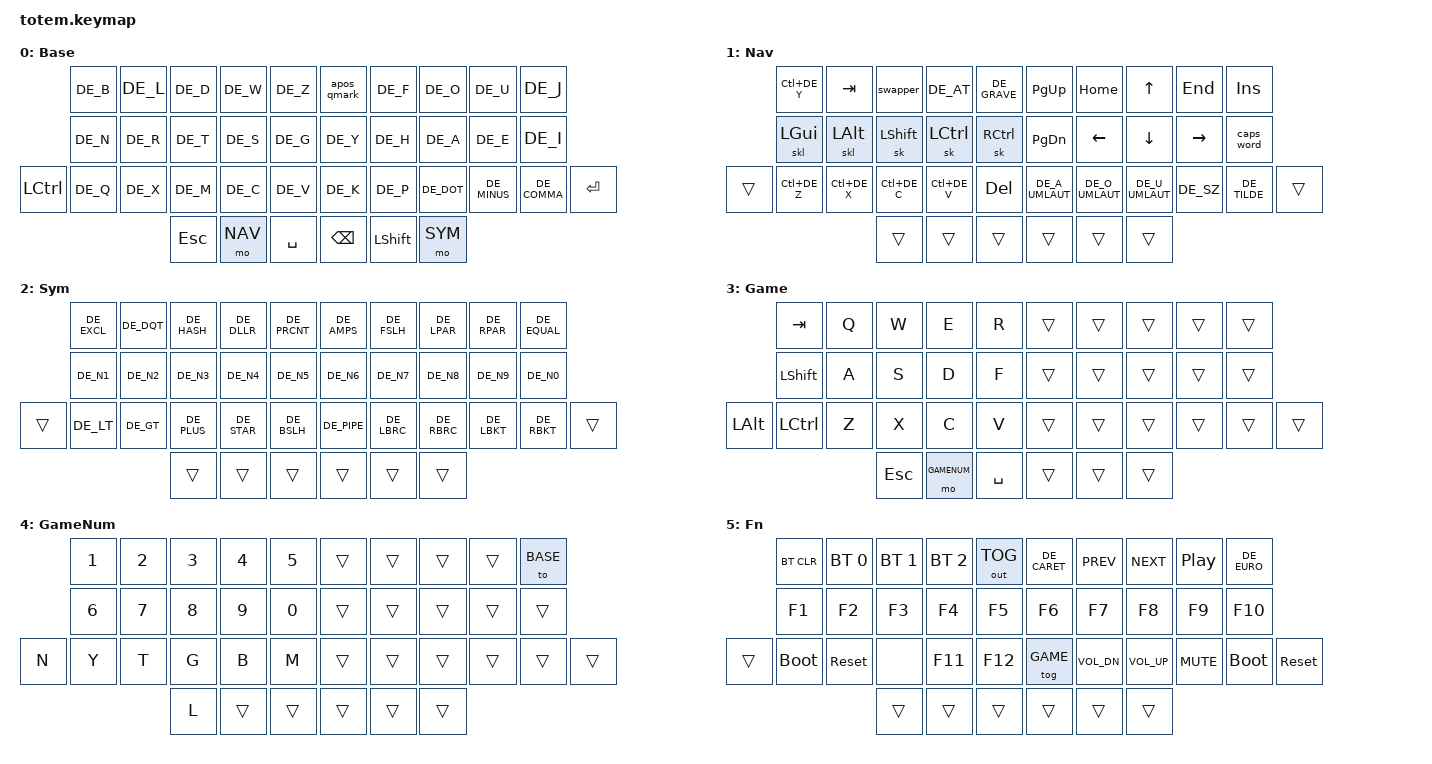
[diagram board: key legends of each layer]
/*
 * TOTEM keymap — Graphite on German (QWERTZ) Windows, keyless dongle as central.
 *
 * Source of truth for the layout: "TOTEM layout planner" artifact.
 * ZMK v0.3. Runs on the dongle (central); the halves only send key positions.
 *
 * Rules this keymap follows:
 *   - Everything that must produce a specific character uses DE_* from keys_de.h
 *     (OS layout = German without dead keys, so ^ ` ´ type immediately).
 *   - Game / GameNum use plain US positional codes (&kp Q ...), because games
 *     read physical positions.
 *   - No hold-taps, tap-dances or combos. Sticky mods only on the Nav home row.
 *
 * Key positions (for ignored-key-positions etc.):
 *
 *           0   1   2   3   4       5   6   7   8   9
 *          10  11  12  13  14      15  16  17  18  19
 *      20  21  22  23  24  25      26  27  28  29  30  31
 *                  32  33  34      35  36  37
 *
 * Layer order matters:
 *   - Fn is the highest layer, so it wins over GameNum's left half when it is
 *     reached through GameNum + Sym (otherwise F1-F5, F11, F12 would be hidden).
 *   - GameNum > Game > Base, and Fn > Nav, Sym (required for conditional_layers).
 */

#include <behaviors.dtsi>
#include <dt-bindings/zmk/keys.h>
#include <dt-bindings/zmk/bt.h>
#include <dt-bindings/zmk/outputs.h>
#ifndef KEYMAP_DRAWER   // keymap-drawer defines this; it should see the DE_* names
#include "keys_de.h"    // German locale header (zmk-locale-generator v1.5.0)
#endif

#define BASE    0
#define NAV     1
#define SYM     2
#define GAME    3
#define GAMENUM 4
#define FN      5

// Sticky mods on the Nav home row: tap = one-shot, hold = normal mod, stackable.
// quick-release: let go as soon as the next key is pressed (no "double mods" on rolls).
&sk {
    release-after-ms = <1750>;
    quick-release;
    /* ignore-modifiers is already set by default -> stacking works */
};

// Caps Word on German Windows: '_' is Shift + DE_MINUS, not US UNDERSCORE.
// Digits continue Caps Word by default. Umlauts / ß end it (not capitalized).
&caps_word {
    continue-list = <DE_UNDER BSPC DEL>;
};

/ {
    behaviors {
        // Lazy sticky key for GUI and Alt: the mod is only sent right before the
        // next key, so a lone tap never opens the Start menu or focuses a menu bar.
        skl: sticky_key_lazy {
            compatible = "zmk,behavior-sticky-key";
            #binding-cells = <1>;
            bindings = <&kp>;
            release-after-ms = <1750>;
            quick-release;
            lazy;
            ignore-modifiers;
        };

        // Base: tap = '  /  Shift = ?
        // Both codes carry their own implicit Shift (DE_APOS = Shift+#,
        // DE_QMARK = Shift+ß). Mod-morph masks the held Shift while '?' is sent,
        // and ZMK replaces implicit mods on the next key press, so nothing leaks.
        apos_qmark: apostrophe_question {
            compatible = "zmk,behavior-mod-morph";
            #binding-cells = <0>;
            bindings = <&kp DE_APOS>, <&kp DE_QMARK>;
            mods = <(MOD_LSFT|MOD_RSFT)>;
        };

        // Swapper = Alt-Tab (urob/zmk-tri-state).
        // First press: Alt down + Tab. Further presses: Tab. Any other key,
        // a layer activation, or RELEASING NAV ends it (Alt up = switch window).
        // Ignored (don't end it): 36 right-thumb Shift, 12 Nav Shift,
        // 7/16/17/18 arrows.
        // The Nav thumb (33) must NOT be ignored: tri-state matches positions
        // only, not layers, so after Nav is released 12/16/17/18/7 are the Base
        // letters T/H/A/E/O and would be sent as Alt+letter.
        swapper: swapper {
            compatible = "zmk,behavior-tri-state";
            #binding-cells = <0>;
            bindings = <&kt LALT>, <&kp TAB>, <&kt LALT>;
            ignored-key-positions = <36 12 7 16 17 18>;
            ignored-layers = <NAV>;
        };
    };

    // Fn is a pure tri-layer. The Fn/Nav/Sym markers on these layers are &trans.
    conditional_layers {
        compatible = "zmk,conditional-layers";
        fn_from_nav_sym {
            if-layers = <NAV SYM>;
            then-layer = <FN>;
        };
        fn_from_gamenum_sym {
            if-layers = <GAMENUM SYM>;
            then-layer = <FN>;
        };
    };

    keymap {
        compatible = "zmk,keymap";

// ──────────────────── BASE (Graphite (',' instead of '/'), German OS layout)
//           ┏━━━━━━━━━┳━━━━━━━━━┳━━━━━━━━━┳━━━━━━━━━┳━━━━━━━━━┓   ┏━━━━━━━━━┳━━━━━━━━━┳━━━━━━━━━┳━━━━━━━━━┳━━━━━━━━━┓
//           ┃    B    ┃    L    ┃    D    ┃    W    ┃    Z    ┃   ┃   ' ?   ┃    F    ┃    O    ┃    U    ┃    J    ┃
//           ┣━━━━━━━━━╋━━━━━━━━━╋━━━━━━━━━╋━━━━━━━━━╋━━━━━━━━━┫   ┣━━━━━━━━━╋━━━━━━━━━╋━━━━━━━━━╋━━━━━━━━━╋━━━━━━━━━┫
//           ┃    N    ┃    R    ┃    T    ┃    S    ┃    G    ┃   ┃    Y    ┃    H    ┃    A    ┃    E    ┃    I    ┃
// ┏━━━━━━━━━╋━━━━━━━━━╋━━━━━━━━━╋━━━━━━━━━╋━━━━━━━━━╋━━━━━━━━━┫   ┣━━━━━━━━━╋━━━━━━━━━╋━━━━━━━━━╋━━━━━━━━━╋━━━━━━━━━╋━━━━━━━━━┓
// ┃   CTRL  ┃    Q    ┃    X    ┃    M    ┃    C    ┃    V    ┃   ┃    K    ┃    P    ┃   . :   ┃   - _   ┃   , ;   ┃  ENTER  ┃
// ┗━━━━━━━━━┻━━━━━━━━━┻━━━━━━━━━╋━━━━━━━━━╋━━━━━━━━━╋━━━━━━━━━┫   ┣━━━━━━━━━╋━━━━━━━━━╋━━━━━━━━━╋━━━━━━━━━┻━━━━━━━━━┻━━━━━━━━━┛
//                               ┃   ESC   ┃   NAV   ┃  SPACE  ┃   ┃   BSPC  ┃  SHIFT  ┃   SYM   ┃
//                               ┗━━━━━━━━━┻━━━━━━━━━┻━━━━━━━━━┛   ┗━━━━━━━━━┻━━━━━━━━━┻━━━━━━━━━┛
        base_layer {
            display-name = "Base";
            bindings = <
                             &kp DE_B         &kp DE_L         &kp DE_D         &kp DE_W         &kp DE_Z           &apos_qmark      &kp DE_F         &kp DE_O         &kp DE_U         &kp DE_J
                             &kp DE_N         &kp DE_R         &kp DE_T         &kp DE_S         &kp DE_G           &kp DE_Y         &kp DE_H         &kp DE_A         &kp DE_E         &kp DE_I
            &kp LCTRL        &kp DE_Q         &kp DE_X         &kp DE_M         &kp DE_C         &kp DE_V           &kp DE_K         &kp DE_P         &kp DE_DOT       &kp DE_MINUS     &kp DE_COMMA     &kp ENTER
                                                               &kp ESC          &mo NAV          &kp SPACE          &kp BSPC         &kp LSHFT        &mo SYM
            >;
        };

// ──────────────────── NAV (sticky mods on the home row, Fn = hold SYM too)
//           ┏━━━━━━━━━┳━━━━━━━━━┳━━━━━━━━━┳━━━━━━━━━┳━━━━━━━━━┓   ┏━━━━━━━━━┳━━━━━━━━━┳━━━━━━━━━┳━━━━━━━━━┳━━━━━━━━━┓
//           ┃   REDO  ┃   TAB   ┃ SWAPPER ┃    @    ┃    `    ┃   ┃  PG UP  ┃   HOME  ┃    ↑    ┃   END   ┃   INS   ┃
//           ┣━━━━━━━━━╋━━━━━━━━━╋━━━━━━━━━╋━━━━━━━━━╋━━━━━━━━━┫   ┣━━━━━━━━━╋━━━━━━━━━╋━━━━━━━━━╋━━━━━━━━━╋━━━━━━━━━┫
//           ┃   GUI   ┃   ALT   ┃  SHIFT  ┃   CTRL  ┃  RCTRL  ┃   ┃  PG DN  ┃    ←    ┃    ↓    ┃    →    ┃ CAPSWORD┃
// ┏━━━━━━━━━╋━━━━━━━━━╋━━━━━━━━━╋━━━━━━━━━╋━━━━━━━━━╋━━━━━━━━━┫   ┣━━━━━━━━━╋━━━━━━━━━╋━━━━━━━━━╋━━━━━━━━━╋━━━━━━━━━╋━━━━━━━━━┓
// ┃    ▽    ┃   UNDO  ┃   CUT   ┃   COPY  ┃  PASTE  ┃   DEL   ┃   ┃    Ä    ┃    Ö    ┃    Ü    ┃    ß    ┃    ~    ┃    ▽    ┃
// ┗━━━━━━━━━┻━━━━━━━━━┻━━━━━━━━━╋━━━━━━━━━╋━━━━━━━━━╋━━━━━━━━━┫   ┣━━━━━━━━━╋━━━━━━━━━╋━━━━━━━━━╋━━━━━━━━━┻━━━━━━━━━┻━━━━━━━━━┛
//                               ┃    ▽    ┃  (NAV)  ┃    ▽    ┃   ┃    ▽    ┃    ▽    ┃   (FN)  ┃
//                               ┗━━━━━━━━━┻━━━━━━━━━┻━━━━━━━━━┛   ┗━━━━━━━━━┻━━━━━━━━━┻━━━━━━━━━┛
        nav_layer {
            display-name = "Nav";
            bindings = <
                             &kp LC(DE_Y)     &kp TAB          &swapper         &kp DE_AT        &kp DE_GRAVE       &kp PG_UP        &kp HOME         &kp UP           &kp END          &kp INS
                             &skl LGUI        &skl LALT        &sk LSHFT        &sk LCTRL        &sk RCTRL          &kp PG_DN        &kp LEFT         &kp DOWN         &kp RIGHT        &caps_word
            &trans           &kp LC(DE_Z)     &kp LC(DE_X)     &kp LC(DE_C)     &kp LC(DE_V)     &kp DEL            &kp DE_A_UMLAUT  &kp DE_O_UMLAUT  &kp DE_U_UMLAUT  &kp DE_SZ        &kp DE_TILDE     &trans
                                                               &trans           &trans           &trans             &trans           &trans           &trans
            >;
        };

// ──────────────────── SYM (every symbol is a direct key, no Shift needed)
//           ┏━━━━━━━━━┳━━━━━━━━━┳━━━━━━━━━┳━━━━━━━━━┳━━━━━━━━━┓   ┏━━━━━━━━━┳━━━━━━━━━┳━━━━━━━━━┳━━━━━━━━━┳━━━━━━━━━┓
//           ┃    !    ┃    "    ┃    #    ┃    $    ┃    %    ┃   ┃    &    ┃    /    ┃    (    ┃    )    ┃    =    ┃
//           ┣━━━━━━━━━╋━━━━━━━━━╋━━━━━━━━━╋━━━━━━━━━╋━━━━━━━━━┫   ┣━━━━━━━━━╋━━━━━━━━━╋━━━━━━━━━╋━━━━━━━━━╋━━━━━━━━━┫
//           ┃    1    ┃    2    ┃    3    ┃    4    ┃    5    ┃   ┃    6    ┃    7    ┃    8    ┃    9    ┃    0    ┃
// ┏━━━━━━━━━╋━━━━━━━━━╋━━━━━━━━━╋━━━━━━━━━╋━━━━━━━━━╋━━━━━━━━━┫   ┣━━━━━━━━━╋━━━━━━━━━╋━━━━━━━━━╋━━━━━━━━━╋━━━━━━━━━╋━━━━━━━━━┓
// ┃    ▽    ┃    <    ┃    >    ┃    +    ┃    *    ┃    \    ┃   ┃    |    ┃    {    ┃    }    ┃    [    ┃    ]    ┃    ▽    ┃
// ┗━━━━━━━━━┻━━━━━━━━━┻━━━━━━━━━╋━━━━━━━━━╋━━━━━━━━━╋━━━━━━━━━┫   ┣━━━━━━━━━╋━━━━━━━━━╋━━━━━━━━━╋━━━━━━━━━┻━━━━━━━━━┻━━━━━━━━━┛
//                               ┃    ▽    ┃   (FN)  ┃    ▽    ┃   ┃    ▽    ┃    ▽    ┃  (SYM)  ┃
//                               ┗━━━━━━━━━┻━━━━━━━━━┻━━━━━━━━━┛   ┗━━━━━━━━━┻━━━━━━━━━┻━━━━━━━━━┛
        sym_layer {
            display-name = "Sym";
            bindings = <
                             &kp DE_EXCL      &kp DE_DQT       &kp DE_HASH      &kp DE_DLLR      &kp DE_PRCNT       &kp DE_AMPS      &kp DE_FSLH      &kp DE_LPAR      &kp DE_RPAR      &kp DE_EQUAL
                             &kp DE_N1        &kp DE_N2        &kp DE_N3        &kp DE_N4        &kp DE_N5          &kp DE_N6        &kp DE_N7        &kp DE_N8        &kp DE_N9        &kp DE_N0
            &trans           &kp DE_LT        &kp DE_GT        &kp DE_PLUS      &kp DE_STAR      &kp DE_BSLH        &kp DE_PIPE      &kp DE_LBRC      &kp DE_RBRC      &kp DE_LBKT      &kp DE_RBKT      &trans
                                                               &trans           &trans           &trans             &trans           &trans           &trans
            >;
        };

// ──────────────────── GAME (toggled from Fn; US positional codes, right half = Base)
//           ┏━━━━━━━━━┳━━━━━━━━━┳━━━━━━━━━┳━━━━━━━━━┳━━━━━━━━━┓   ┏━━━━━━━━━┳━━━━━━━━━┳━━━━━━━━━┳━━━━━━━━━┳━━━━━━━━━┓
//           ┃   TAB   ┃    Q    ┃    W    ┃    E    ┃    R    ┃   ┃    ▽    ┃    ▽    ┃    ▽    ┃    ▽    ┃    ▽    ┃
//           ┣━━━━━━━━━╋━━━━━━━━━╋━━━━━━━━━╋━━━━━━━━━╋━━━━━━━━━┫   ┣━━━━━━━━━╋━━━━━━━━━╋━━━━━━━━━╋━━━━━━━━━╋━━━━━━━━━┫
//           ┃  SHIFT  ┃    A    ┃    S    ┃    D    ┃    F    ┃   ┃    ▽    ┃    ▽    ┃    ▽    ┃    ▽    ┃    ▽    ┃
// ┏━━━━━━━━━╋━━━━━━━━━╋━━━━━━━━━╋━━━━━━━━━╋━━━━━━━━━╋━━━━━━━━━┫   ┣━━━━━━━━━╋━━━━━━━━━╋━━━━━━━━━╋━━━━━━━━━╋━━━━━━━━━╋━━━━━━━━━┓
// ┃   ALT   ┃   CTRL  ┃ Y (pos) ┃    X    ┃    C    ┃    V    ┃   ┃    ▽    ┃    ▽    ┃    ▽    ┃    ▽    ┃    ▽    ┃    ▽    ┃
// ┗━━━━━━━━━┻━━━━━━━━━┻━━━━━━━━━╋━━━━━━━━━╋━━━━━━━━━╋━━━━━━━━━┫   ┣━━━━━━━━━╋━━━━━━━━━╋━━━━━━━━━╋━━━━━━━━━┻━━━━━━━━━┻━━━━━━━━━┛
//                               ┃   ESC   ┃ GAMENUM ┃  SPACE  ┃   ┃    ▽    ┃    ▽    ┃    ▽    ┃
//                               ┗━━━━━━━━━┻━━━━━━━━━┻━━━━━━━━━┛   ┗━━━━━━━━━┻━━━━━━━━━┻━━━━━━━━━┛
        game_layer {
            display-name = "Game";
            bindings = <
                             &kp TAB          &kp Q            &kp W            &kp E            &kp R              &trans           &trans           &trans           &trans           &trans
                             &kp LSHFT        &kp A            &kp S            &kp D            &kp F              &trans           &trans           &trans           &trans           &trans
            &kp LALT         &kp LCTRL        &kp Z            &kp X            &kp C            &kp V              &trans           &trans           &trans           &trans           &trans           &trans
                                                               &kp ESC          &mo GAMENUM      &kp SPACE          &trans           &trans           &trans
            >;
        };

// ──────────────────── GAMENUM (held from Game; GameNum + Sym = Fn)
//           ┏━━━━━━━━━┳━━━━━━━━━┳━━━━━━━━━┳━━━━━━━━━┳━━━━━━━━━┓   ┏━━━━━━━━━┳━━━━━━━━━┳━━━━━━━━━┳━━━━━━━━━┳━━━━━━━━━┓
//           ┃    1    ┃    2    ┃    3    ┃    4    ┃    5    ┃   ┃    ▽    ┃    ▽    ┃    ▽    ┃    ▽    ┃ GAME OFF┃
//           ┣━━━━━━━━━╋━━━━━━━━━╋━━━━━━━━━╋━━━━━━━━━╋━━━━━━━━━┫   ┣━━━━━━━━━╋━━━━━━━━━╋━━━━━━━━━╋━━━━━━━━━╋━━━━━━━━━┫
//           ┃    6    ┃    7    ┃    8    ┃    9    ┃    0    ┃   ┃    ▽    ┃    ▽    ┃    ▽    ┃    ▽    ┃    ▽    ┃
// ┏━━━━━━━━━╋━━━━━━━━━╋━━━━━━━━━╋━━━━━━━━━╋━━━━━━━━━╋━━━━━━━━━┫   ┣━━━━━━━━━╋━━━━━━━━━╋━━━━━━━━━╋━━━━━━━━━╋━━━━━━━━━╋━━━━━━━━━┓
// ┃    N    ┃ Z (pos) ┃    T    ┃    G    ┃    B    ┃    M    ┃   ┃    ▽    ┃    ▽    ┃    ▽    ┃    ▽    ┃    ▽    ┃    ▽    ┃
// ┗━━━━━━━━━┻━━━━━━━━━┻━━━━━━━━━╋━━━━━━━━━╋━━━━━━━━━╋━━━━━━━━━┫   ┣━━━━━━━━━╋━━━━━━━━━╋━━━━━━━━━╋━━━━━━━━━┻━━━━━━━━━┻━━━━━━━━━┛
//                               ┃    L    ┃  (GNUM) ┃    ▽    ┃   ┃    ▽    ┃    ▽    ┃    ▽    ┃
//                               ┗━━━━━━━━━┻━━━━━━━━━┻━━━━━━━━━┛   ┗━━━━━━━━━┻━━━━━━━━━┻━━━━━━━━━┛
        gamenum_layer {
            display-name = "GameNum";
            bindings = <
                             &kp N1           &kp N2           &kp N3           &kp N4           &kp N5             &trans           &trans           &trans           &trans           &to BASE
                             &kp N6           &kp N7           &kp N8           &kp N9           &kp N0             &trans           &trans           &trans           &trans           &trans
            &kp N            &kp Y            &kp T            &kp G            &kp B            &kp M              &trans           &trans           &trans           &trans           &trans           &trans
                                                               &kp L            &trans           &trans             &trans           &trans           &trans
            >;
        };

// ──────────────────── FN (conditional: Nav + Sym, or GameNum + Sym)
//           ┏━━━━━━━━━┳━━━━━━━━━┳━━━━━━━━━┳━━━━━━━━━┳━━━━━━━━━┓   ┏━━━━━━━━━┳━━━━━━━━━┳━━━━━━━━━┳━━━━━━━━━┳━━━━━━━━━┓
//           ┃  BT CLR ┃   BT 0  ┃   BT 1  ┃   BT 2  ┃  USB/BT ┃   ┃    ^    ┃   PREV  ┃   NEXT  ┃   PLAY  ┃    €    ┃
//           ┣━━━━━━━━━╋━━━━━━━━━╋━━━━━━━━━╋━━━━━━━━━╋━━━━━━━━━┫   ┣━━━━━━━━━╋━━━━━━━━━╋━━━━━━━━━╋━━━━━━━━━╋━━━━━━━━━┫
//           ┃    F1   ┃    F2   ┃    F3   ┃    F4   ┃    F5   ┃   ┃    F6   ┃    F7   ┃    F8   ┃    F9   ┃   F10   ┃
// ┏━━━━━━━━━╋━━━━━━━━━╋━━━━━━━━━╋━━━━━━━━━╋━━━━━━━━━╋━━━━━━━━━┫   ┣━━━━━━━━━╋━━━━━━━━━╋━━━━━━━━━╋━━━━━━━━━╋━━━━━━━━━╋━━━━━━━━━┓
// ┃    ▽    ┃   BOOT  ┃  RESET  ┃    ·    ┃   F11   ┃   F12   ┃   ┃   GAME  ┃   VOL-  ┃   VOL+  ┃   MUTE  ┃   BOOT  ┃  RESET  ┃
// ┗━━━━━━━━━┻━━━━━━━━━┻━━━━━━━━━╋━━━━━━━━━╋━━━━━━━━━╋━━━━━━━━━┫   ┣━━━━━━━━━╋━━━━━━━━━╋━━━━━━━━━╋━━━━━━━━━┻━━━━━━━━━┻━━━━━━━━━┛
//                               ┃    ▽    ┃  (NAV)  ┃    ▽    ┃   ┃    ▽    ┃    ▽    ┃  (SYM)  ┃
//                               ┗━━━━━━━━━┻━━━━━━━━━┻━━━━━━━━━┛   ┗━━━━━━━━━┻━━━━━━━━━┻━━━━━━━━━┛
        fn_layer {
            display-name = "Fn";
            bindings = <
                             &bt BT_CLR       &bt BT_SEL 0     &bt BT_SEL 1     &bt BT_SEL 2     &out OUT_TOG       &kp DE_CARET     &kp C_PREV       &kp C_NEXT       &kp C_PP         &kp DE_EURO
                             &kp F1           &kp F2           &kp F3           &kp F4           &kp F5             &kp F6           &kp F7           &kp F8           &kp F9           &kp F10
            &trans           &bootloader      &sys_reset       &none            &kp F11          &kp F12            &tog GAME        &kp C_VOL_DN     &kp C_VOL_UP     &kp C_MUTE       &bootloader      &sys_reset
                                                               &trans           &trans           &trans             &trans           &trans           &trans
            >;
        };

    };
};
